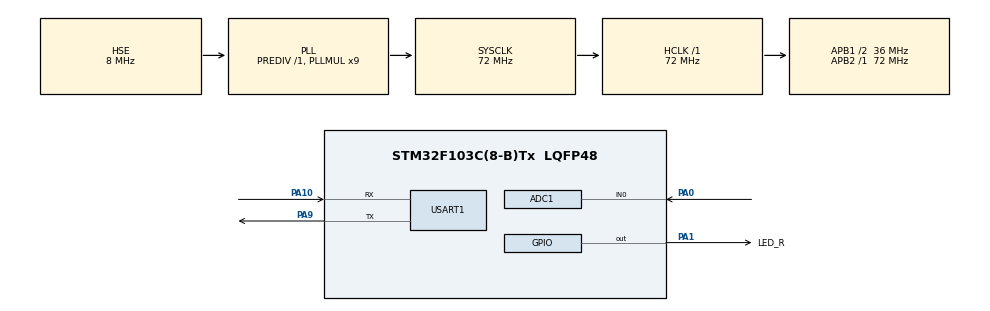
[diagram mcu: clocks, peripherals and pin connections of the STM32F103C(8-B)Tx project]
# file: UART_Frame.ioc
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ADC1.Channel-0\#ChannelRegularConversion=ADC_CHANNEL_0
ADC1.NbrOfConversionFlag=1
ADC1.Rank-0\#ChannelRegularConversion=1
ADC1.SamplingTime-0\#ChannelRegularConversion=ADC_SAMPLETIME_1CYCLE_5
ADC1.master=1
Mcu.Family=STM32F1
Mcu.Name=STM32F103C(8-B)Tx
Mcu.Package=LQFP48
NVIC.PriorityGroup=NVIC_PRIORITYGROUP_4
NVIC.USART1_IRQn=true\:0\:0\:false\:false\:true\:true\:true\:true
PA0-WKUP.Signal=ADCx_IN0
PA1.GPIO_Label=LED_R
PA1.PinState=GPIO_PIN_SET
PA1.Signal=GPIO_Output
PA10.Mode=Asynchronous
PA10.Signal=USART1_RX
PA13.Mode=Serial_Wire
PA13.Signal=SYS_JTMS-SWDIO
PA14.Mode=Serial_Wire
PA14.Signal=SYS_JTCK-SWCLK
PA9.Mode=Asynchronous
PA9.Signal=USART1_TX
PC14-OSC32_IN.Mode=LSE-External-Oscillator
PC14-OSC32_IN.Signal=RCC_OSC32_IN
PC15-OSC32_OUT.Mode=LSE-External-Oscillator
PC15-OSC32_OUT.Signal=RCC_OSC32_OUT
PD0-OSC_IN.Mode=HSE-External-Oscillator
PD0-OSC_IN.Signal=RCC_OSC_IN
PD1-OSC_OUT.Mode=HSE-External-Oscillator
PD1-OSC_OUT.Signal=RCC_OSC_OUT
ProjectManager.HeapSize=0x200
ProjectManager.StackSize=0x400
ProjectManager.TargetToolchain=CMake
RCC.ADCPresc=RCC_ADCPCLK2_DIV6
RCC.AHBFreq_Value=72000000
RCC.APB1CLKDivider=RCC_HCLK_DIV2
RCC.APB1Freq_Value=36000000
RCC.APB1TimFreq_Value=72000000
RCC.APB2Freq_Value=72000000
RCC.APB2TimFreq_Value=72000000
RCC.HCLKFreq_Value=72000000
RCC.PLLMUL=RCC_PLL_MUL9
RCC.PLLSourceVirtual=RCC_PLLSOURCE_HSE
RCC.SYSCLKFreq_VALUE=72000000
RCC.SYSCLKSource=RCC_SYSCLKSOURCE_PLLCLK
RCC.USBFreq_Value=72000000
SH.ADCx_IN0.0=ADC1_IN0,IN0
USART1.VirtualMode=VM_ASYNC
board=custom

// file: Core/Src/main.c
/* USER CODE BEGIN Header */
/**
  ******************************************************************************
  * @file           : main.c
  * @brief          : Main program body
  ******************************************************************************
  * @attention
  *
  * Copyright (c) 2025 STMicroelectronics.
  * All rights reserved.
  *
  * This software is licensed under terms that can be found in the LICENSE file
  * in the root directory of this software component.
  * If no LICENSE file comes with this software, it is provided AS-IS.
  *
  ******************************************************************************
  */
/* USER CODE END Header */
#include "main.h"
#include "adc.h"
#include "usart.h"
#include "gpio.h"

/* USER CODE BEGIN Includes */
#include "protocol.h"
#include<math.h>
#include<string.h>
/* USER CODE END Includes */

/* USER CODE BEGIN PV */
Frame_t tx_frame;
uint32_t packet_counter = 0;
volatile uint8_t u1_tx_busy = 0;
uint32_t last_time = 0;
/* USER CODE END PV */

void SystemClock_Config(void);

int main(void)
{

  /* MCU Configuration--------------------------------------------------------*/

  /* Reset of all peripherals, Initializes the Flash interface and the Systick. */
  HAL_Init();

  /* Configure the system clock */
  SystemClock_Config();

  /* Initialize all configured peripherals */
  MX_GPIO_Init();
  MX_USART1_UART_Init();
  MX_ADC1_Init();

  /* Infinite loop */
  /* USER CODE BEGIN WHILE */
  while (1)
  {
    if (HAL_GetTick() - last_time >= 10)
    {
      last_time = HAL_GetTick();
      if (u1_tx_busy == 0)
      {
        u1_tx_busy = 1;
        HAL_ADC_Start(&hadc1);
        HAL_ADC_PollForConversion(&hadc1, 1);
        uint16_t adc_raw = HAL_ADC_GetValue(&hadc1);
        tx_frame.header = PACKET_HEADER;
        tx_frame.seq = packet_counter++;
        tx_frame.val1 = (int16_t)adc_raw;
        tx_frame.val2 = 0;

        uint8_t *p = (uint8_t*)&tx_frame;
        uint8_t xor_sum = 0;
        for (int i = 0; i < sizeof(Frame_t) - 1; i++)
        {
          xor_sum ^= p[i];
        }
        tx_frame.checksum = xor_sum;
        HAL_UART_Transmit_IT(&huart1, (uint8_t*)&tx_frame, sizeof(Frame_t));
        HAL_GPIO_TogglePin(GPIOA, LED_R_Pin);
      }

    }
    /* USER CODE END WHILE */

  }
}

void SystemClock_Config(void)
{
  RCC_OscInitTypeDef RCC_OscInitStruct = {0};
  RCC_ClkInitTypeDef RCC_ClkInitStruct = {0};
  RCC_PeriphCLKInitTypeDef PeriphClkInit = {0};

  /** Initializes the RCC Oscillators according to the specified parameters
  * in the RCC_OscInitTypeDef structure.
  */
  RCC_OscInitStruct.OscillatorType = RCC_OSCILLATORTYPE_HSE;
  RCC_OscInitStruct.HSEState = RCC_HSE_ON;
  RCC_OscInitStruct.HSEPredivValue = RCC_HSE_PREDIV_DIV1;
  RCC_OscInitStruct.HSIState = RCC_HSI_ON;
  RCC_OscInitStruct.PLL.PLLState = RCC_PLL_ON;
  RCC_OscInitStruct.PLL.PLLSource = RCC_PLLSOURCE_HSE;
  RCC_OscInitStruct.PLL.PLLMUL = RCC_PLL_MUL9;
  if (HAL_RCC_OscConfig(&RCC_OscInitStruct) != HAL_OK)
  {
    Error_Handler();
  }

  /** Initializes the CPU, AHB and APB buses clocks
  */
  RCC_ClkInitStruct.ClockType = RCC_CLOCKTYPE_HCLK|RCC_CLOCKTYPE_SYSCLK
                              |RCC_CLOCKTYPE_PCLK1|RCC_CLOCKTYPE_PCLK2;
  RCC_ClkInitStruct.SYSCLKSource = RCC_SYSCLKSOURCE_PLLCLK;
  RCC_ClkInitStruct.AHBCLKDivider = RCC_SYSCLK_DIV1;
  RCC_ClkInitStruct.APB1CLKDivider = RCC_HCLK_DIV2;
  RCC_ClkInitStruct.APB2CLKDivider = RCC_HCLK_DIV1;

  if (HAL_RCC_ClockConfig(&RCC_ClkInitStruct, FLASH_LATENCY_2) != HAL_OK)
  {
    Error_Handler();
  }
  PeriphClkInit.PeriphClockSelection = RCC_PERIPHCLK_ADC;
  PeriphClkInit.AdcClockSelection = RCC_ADCPCLK2_DIV6;
  if (HAL_RCCEx_PeriphCLKConfig(&PeriphClkInit) != HAL_OK)
  {
    Error_Handler();
  }
}

/* USER CODE BEGIN 4 */
void HAL_UART_TxCpltCallback(UART_HandleTypeDef *huart)
{
  if (huart->Instance == USART1)
  {
    u1_tx_busy = 0;
  }
}
/* USER CODE END 4 */

void Error_Handler(void)
{
  __disable_irq();
  while (1)
  {
  }
}
